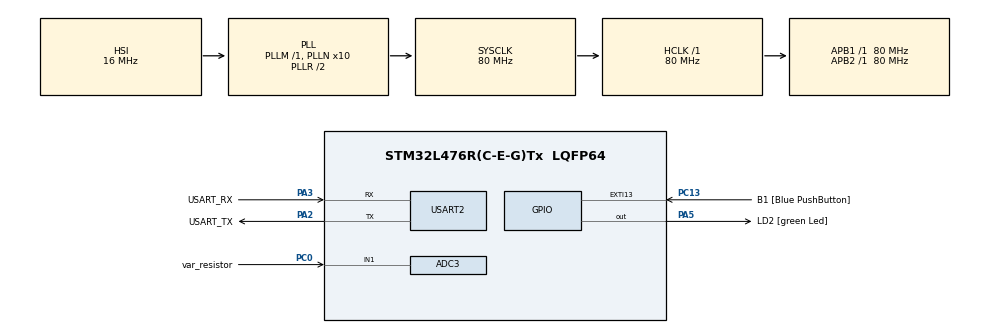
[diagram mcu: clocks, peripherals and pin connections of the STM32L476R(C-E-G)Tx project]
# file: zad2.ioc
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ADC3.Channel-0\#ChannelRegularConversion=ADC_CHANNEL_1
ADC3.NbrOfConversionFlag=1
ADC3.OffsetNumber-0\#ChannelRegularConversion=ADC_OFFSET_NONE
ADC3.Rank-0\#ChannelRegularConversion=1
ADC3.SamplingTime-0\#ChannelRegularConversion=ADC_SAMPLETIME_2CYCLES_5
ARM.CMSIS-DSP.1.16.2.CMSISJjDSP=Source
Mcu.Family=STM32L4
Mcu.Name=STM32L476R(C-E-G)Tx
Mcu.Package=LQFP64
NVIC.PriorityGroup=NVIC_PRIORITYGROUP_4
PA13\ (JTMS-SWDIO).GPIO_Label=TMS
PA13\ (JTMS-SWDIO).Mode=Trace_Asynchronous_SW
PA13\ (JTMS-SWDIO).Signal=SYS_JTMS-SWDIO
PA14\ (JTCK-SWCLK).GPIO_Label=TCK
PA14\ (JTCK-SWCLK).Mode=Trace_Asynchronous_SW
PA14\ (JTCK-SWCLK).Signal=SYS_JTCK-SWCLK
PA2.GPIO_Label=USART_TX
PA2.GPIO_Mode=GPIO_MODE_AF_PP
PA2.GPIO_PuPd=GPIO_NOPULL
PA2.GPIO_Speed=GPIO_SPEED_FREQ_VERY_HIGH
PA2.Mode=Asynchronous
PA2.Signal=USART2_TX
PA3.GPIO_Label=USART_RX
PA3.GPIO_Mode=GPIO_MODE_AF_PP
PA3.GPIO_PuPd=GPIO_NOPULL
PA3.GPIO_Speed=GPIO_SPEED_FREQ_VERY_HIGH
PA3.Mode=Asynchronous
PA3.Signal=USART2_RX
PA5.GPIO_Label=LD2 [green Led]
PA5.GPIO_ModeDefaultOutputPP=GPIO_MODE_OUTPUT_PP
PA5.GPIO_PuPd=GPIO_NOPULL
PA5.GPIO_Speed=GPIO_SPEED_FREQ_LOW
PA5.Signal=GPIO_Output
PB3\ (JTDO-TRACESWO).GPIO_Label=SWO
PB3\ (JTDO-TRACESWO).Mode=Trace_Asynchronous_SW
PB3\ (JTDO-TRACESWO).Signal=SYS_JTDO-SWO
PC0.GPIO_Label=var_resistor
PC0.Signal=ADCx_IN1
PC13.GPIO_Label=B1 [Blue PushButton]
PC13.GPIO_ModeDefaultEXTI=GPIO_MODE_IT_FALLING
PC13.GPIO_PuPd=GPIO_NOPULL
PC13.Signal=GPXTI13
PC14-OSC32_IN\ (PC14).Mode=LSE-External-Oscillator
PC14-OSC32_IN\ (PC14).Signal=RCC_OSC32_IN
PC15-OSC32_OUT\ (PC15).Mode=LSE-External-Oscillator
PC15-OSC32_OUT\ (PC15).Signal=RCC_OSC32_OUT
PH0-OSC_IN\ (PH0).Signal=RCC_OSC_IN
PH1-OSC_OUT\ (PH1).Signal=RCC_OSC_OUT
ProjectManager.HeapSize=0x200
ProjectManager.StackSize=0x400
ProjectManager.TargetToolchain=CMake
RCC.ADCFreq_Value=64000000
RCC.AHBFreq_Value=80000000
RCC.APB1Freq_Value=80000000
RCC.APB1TimFreq_Value=80000000
RCC.APB2Freq_Value=80000000
RCC.APB2TimFreq_Value=80000000
RCC.CortexFreq_Value=80000000
RCC.HCLKFreq_Value=80000000
RCC.HSE_VALUE=8000000
RCC.HSI_VALUE=16000000
RCC.MSI_VALUE=4000000
RCC.PLLN=10
RCC.PLLSourceVirtual=RCC_PLLSOURCE_HSI
RCC.PREFETCH_ENABLE=1
RCC.SYSCLKFreq_VALUE=80000000
RCC.SYSCLKSource=RCC_SYSCLKSOURCE_PLLCLK
RCC.USBFreq_Value=64000000
RCC.VCOOutputFreq_Value=160000000
SH.ADCx_IN1.0=ADC3_IN1,IN1-Single-Ended
USART2.VirtualMode-Asynchronous=VM_ASYNC
VP_ARM.CMSIS-DSP_VS_CMSISJjDSP_1.16.2_1.16.2.Mode=CMSISJjDSP
board=NUCLEO-L476RG

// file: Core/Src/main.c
/* USER CODE BEGIN Header */
/**
  ******************************************************************************
  * @file           : main.c
  * @brief          : Main program body
  ******************************************************************************
  * @attention
  *
  * Copyright (c) 2026 STMicroelectronics.
  * All rights reserved.
  *
  * This software is licensed under terms that can be found in the LICENSE file
  * in the root directory of this software component.
  * If no LICENSE file comes with this software, it is provided AS-IS.
  *
  ******************************************************************************
  */
/* USER CODE END Header */
#include "main.h"
#include "adc.h"
#include "usart.h"
#include "gpio.h"
#include "core_cm4.h"
#include "arm_math.h"

/* USER CODE BEGIN PD */
#define SAMPLES 1000
#define IIR1_NUM_STAGES 2
#define SWV_PORT 0
#define VREF 3.3f
/* USER CODE END PD */

void SystemClock_Config(void);

/* USER CODE BEGIN 0 */
#define BLOCK_SIZE 10
float32_t adc_buffer[BLOCK_SIZE];
float32_t output_buffer[BLOCK_SIZE];

float32_t adc_input_now;
float32_t adc_output_now;

arm_biquad_casd_df1_inst_f32 IIR1_instance;

/* --- funkcja SWV --- */
static inline void SWV_Trace_Int(int32_t val)
{
    while (ITM->PORT[SWV_PORT].u32 == 0);
    ITM->PORT[SWV_PORT].u32 = (uint32_t)val;
}

static inline void SWV_Trace_Float(float32_t val)
{
    uint32_t tmp = *(uint32_t*)&val;
    while (ITM->PORT[SWV_PORT].u32 == 0);
    ITM->PORT[SWV_PORT].u32 = tmp;
}

/* USER CODE END 0 */

int main(void)
{

  /* USER CODE BEGIN 1 */
	float32_t IIR1_STATE[2*IIR1_NUM_STAGES] = {0};
	float32_t IIR1_COEFFS[10] = {
	    0.2066f,  0.2066f,  0.0f,  -0.5868f,  0.0f,
	    0.2066f,  0.2066f,  0.0f,  -0.5868f,  0.0f
	};

	    arm_biquad_cascade_df1_init_f32(&IIR1_instance, IIR1_NUM_STAGES, IIR1_COEFFS, IIR1_STATE);

  /* USER CODE END 1 */

  /* MCU Configuration--------------------------------------------------------*/

  /* Reset of all peripherals, Initializes the Flash interface and the Systick. */
  HAL_Init();

  /* Configure the system clock */
  SystemClock_Config();

  /* Initialize all configured peripherals */
  MX_GPIO_Init();
  MX_USART2_UART_Init();
  MX_ADC3_Init();

  /* Infinite loop */
  /* USER CODE BEGIN WHILE */
  while (1)
  {
	  for (int i = 0; i < BLOCK_SIZE; i++)
	  {
	      HAL_ADC_Start(&hadc3);
	      HAL_ADC_PollForConversion(&hadc3, HAL_MAX_DELAY);
	      adc_buffer[i] = ((float32_t)HAL_ADC_GetValue(&hadc3) / 4095.0f) * 3.3f;
	  }

	  arm_biquad_cascade_df1_f32(&IIR1_instance, adc_buffer, output_buffer, BLOCK_SIZE);
	  adc_input_now  = adc_buffer[BLOCK_SIZE - 1];
	  adc_output_now = output_buffer[BLOCK_SIZE - 1];
	  SWV_Trace_Float(adc_output_now);

    /* USER CODE END WHILE */

  }
}

void SystemClock_Config(void)
{
  RCC_OscInitTypeDef RCC_OscInitStruct = {0};
  RCC_ClkInitTypeDef RCC_ClkInitStruct = {0};

  /** Configure the main internal regulator output voltage
  */
  if (HAL_PWREx_ControlVoltageScaling(PWR_REGULATOR_VOLTAGE_SCALE1) != HAL_OK)
  {
    Error_Handler();
  }

  /** Initializes the RCC Oscillators according to the specified parameters
  * in the RCC_OscInitTypeDef structure.
  */
  RCC_OscInitStruct.OscillatorType = RCC_OSCILLATORTYPE_HSI;
  RCC_OscInitStruct.HSIState = RCC_HSI_ON;
  RCC_OscInitStruct.HSICalibrationValue = RCC_HSICALIBRATION_DEFAULT;
  RCC_OscInitStruct.PLL.PLLState = RCC_PLL_ON;
  RCC_OscInitStruct.PLL.PLLSource = RCC_PLLSOURCE_HSI;
  RCC_OscInitStruct.PLL.PLLM = 1;
  RCC_OscInitStruct.PLL.PLLN = 10;
  RCC_OscInitStruct.PLL.PLLP = RCC_PLLP_DIV7;
  RCC_OscInitStruct.PLL.PLLQ = RCC_PLLQ_DIV2;
  RCC_OscInitStruct.PLL.PLLR = RCC_PLLR_DIV2;
  if (HAL_RCC_OscConfig(&RCC_OscInitStruct) != HAL_OK)
  {
    Error_Handler();
  }

  /** Initializes the CPU, AHB and APB buses clocks
  */
  RCC_ClkInitStruct.ClockType = RCC_CLOCKTYPE_HCLK|RCC_CLOCKTYPE_SYSCLK
                              |RCC_CLOCKTYPE_PCLK1|RCC_CLOCKTYPE_PCLK2;
  RCC_ClkInitStruct.SYSCLKSource = RCC_SYSCLKSOURCE_PLLCLK;
  RCC_ClkInitStruct.AHBCLKDivider = RCC_SYSCLK_DIV1;
  RCC_ClkInitStruct.APB1CLKDivider = RCC_HCLK_DIV1;
  RCC_ClkInitStruct.APB2CLKDivider = RCC_HCLK_DIV1;

  if (HAL_RCC_ClockConfig(&RCC_ClkInitStruct, FLASH_LATENCY_4) != HAL_OK)
  {
    Error_Handler();
  }
}

void Error_Handler(void)
{
  __disable_irq();
  while (1)
  {
  }
}
